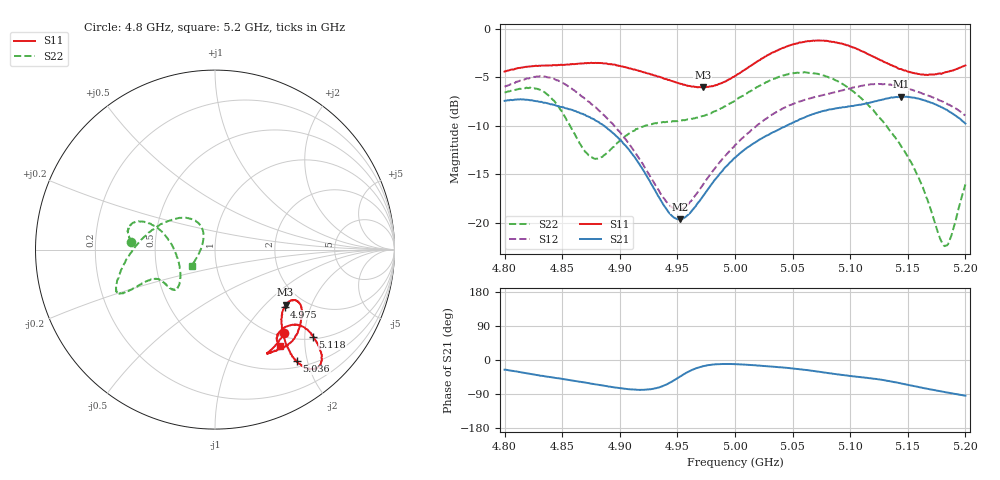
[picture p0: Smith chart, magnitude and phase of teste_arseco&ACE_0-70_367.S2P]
! Network Analyzer HP8722D
! Hewlett-Packard
! Data name: Linha & Wilkinson
! Saver's name: Rodrigo Anjos
! Comments: Teste da utilização de aquisição
! continua pelo VNA HP8722D
! Time and date: 8/5/2025 15:49
!  Frequency  S11  S21  S12  S22
# HZ  S  MA R 50
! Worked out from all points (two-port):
!   401 points, 4.8 GHz to 5.2 GHz, reference 50 ohm
!   highest |S21| = -6.99 dB at 5.144 GHz (marker M1); lowest = -19.7 dB at 4.952 GHz (marker M2)
!   |S21| within 3 dB of the highest: start of sweep to 4.886 GHz; 5.045 GHz to end of sweep
!   lowest |S11| = -6.0 dB at 4.972 GHz (marker M3), VSWR 2.99, Z = 81.2 - j66.4 ohm
!   |S11| at or under -10 dB: nowhere
!   |S22| runs from -22.4 to -4.5 dB; largest |S21 - S12| = 0.96
!   S11 on the Smith chart (normalised r, x): 4.8 GHz: 1.08, -1.57; 4.975 GHz: 1.57, -1.33; 5.036 GHz: 0.59, -1.82; 5.118 GHz: 1.06, -2.20; 5.2 GHz: 0.83, -1.54
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4.8e9  0.6026 -50.1  0.4256 -25.6  0.5032 179.6  0.4708 174.9
4.82e9  0.6377 -60.1  0.4308 -35.4  0.5566 172.0  0.4955 167.2
4.835e9  0.647 -63.3  0.4163 -43.2  0.568 163.3  0.4698 160.7
4.85e9  0.6513 -61.2  0.3949 -50.0  0.5287 154.1  0.3731 158.6
4.867e9  0.6628 -55.7  0.3652 -58.0  0.4483 146.2  0.2462 172.4
4.881e9  0.6679 -50.7  0.332 -65.2  0.3834 141.6  0.2141 -160.7
4.9e9  0.6447 -43.7  0.2688 -74.3  0.2943 136.7  0.2652 -137.6
4.934e9  0.5671 -32.9  0.1353 -72.5  0.1465 144.8  0.3276 -138.2
4.952e9  0.5231 -32.5  0.104 -44.1  0.1169 173.6  0.3353 -145.4
4.972e9  0.4989 -38.0  0.1364 -16.5  0.1566 -158.9  0.3552 -152.2
4.975e9  0.5012 -39.4  0.1444 -14.9  0.1661 -156.8  0.3598 -153.0
5e9  0.5718 -49.3  0.2165 -11.1  0.2513 -149.4  0.4258 -155.1
5.036e9  0.772 -53.8  0.2986 -18.4  0.3727 -151.1  0.5597 -154.6
5.067e9  0.868 -49.5  0.3625 -28.3  0.4419 -158.5  0.5931 -158.5
5.094e9  0.8364 -44.6  0.3945 -39.8  0.483 -166.4  0.5173 -170.2
5.118e9  0.7299 -41.6  0.4172 -48.3  0.5182 -178.3  0.3911 168.1
5.134e9  0.6584 -41.1  0.4402 -55.7  0.5154 172.1  0.3007 147.4
5.144e9  0.6213 -42.6  0.4473 -61.7  0.5027 166.4  0.249 134.7
5.163e9  0.5829 -48.4  0.4303 -73.7  0.4623 157.6  0.1526 120.9
5.182e9  0.5962 -54.2  0.3871 -84.5  0.4164 151.4  0.07557 160.0
5.187e9  0.6075 -55.4  0.3715 -87.5  0.4024 149.5  0.08308 -175.3
5.2e9  0.6479 -56.0  0.3247 -94.1  0.3582 145.9  0.1575 -145.5
